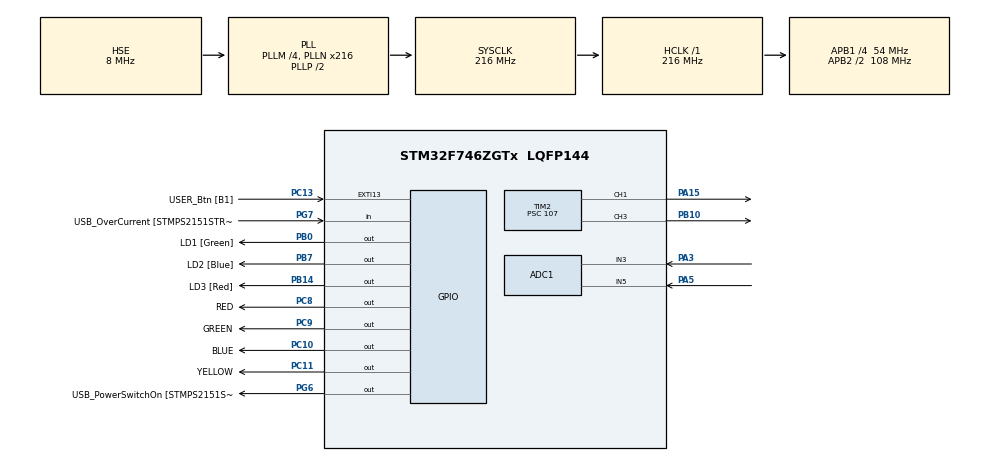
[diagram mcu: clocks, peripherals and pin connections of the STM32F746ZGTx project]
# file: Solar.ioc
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Mcu.Family=STM32F7
RCC.CortexFreq_Value=216000000
PG6.Signal=GPIO_Output
ADC1.ContinuousConvMode=ENABLE
PC10.Signal=GPIO_Output
PB14.GPIO_Label=LD3 [Red]
PG6.GPIO_Label=USB_PowerSwitchOn [STMPS2151STR_EN]
PA14.GPIO_Label=TCK
RCC.SYSCLKSourceVirtual=RCC_SYSCLKSOURCE_PLLCLK
PB0.GPIO_Label=LD1 [Green]
PC14/OSC32_IN.Mode=LSE-External-Oscillator
PC13.GPIO_Label=USER_Btn [B1]
PB13.GPIO_Label=RMII_TXD1 [LAN8742A-CZ-TR_TXD1]
PB13.Signal=ETH_TXD1
PG13.Signal=ETH_TXD0
PG11.Signal=ETH_TX_EN
RCC.SYSCLKSource=RCC_SYSCLKSOURCE_PLLCLK
ProjectManager.StackSize=0x400
PA12.Signal=USB_OTG_FS_DP
PH0/OSC_IN.Mode=HSE-External-Clock-Source
RCC.HCLKFreq_Value=216000000
SH.ADCx_IN3.0=ADC1_IN3,IN3
RCC.APB2TimFreq_Value=216000000
Dma.ADC1.0.Direction=DMA_PERIPH_TO_MEMORY
ADC1.Channel-2\#ChannelRegularConversion=ADC_CHANNEL_5
ADC1.InjNumberOfConversion=0
PH1/OSC_OUT.Signal=RCC_OSC_OUT
PD8.Signal=USART3_TX
NVIC.DMA2_Stream0_IRQn=true\:0\:0\:false\:false\:true\:false\:true
Dma.ADC1.0.MemDataAlignment=DMA_MDATAALIGN_HALFWORD
RCC.AHBFreq_Value=216000000
RCC.HSE_VALUE=8000000
RCC.PLLMUL=RCC_PLL_MUL9
ADC1.Rank-2\#ChannelRegularConversion=2
PC4.GPIO_Label=RMII_RXD0 [LAN8742A-CZ-TR_RXD0]
PA14.Mode=Serial_Wire
Dma.ADC1.0.PeriphInc=DMA_PINC_DISABLE
PC11.GPIO_Label=YELLOW
NVIC.TIM2_IRQn=true\:0\:0\:false\:false\:true\:true\:true
PA10.GPIO_Label=USB_ID
PB7.Signal=GPIO_Output
PA8.Signal=USB_OTG_FS_SOF
TIM2.Channel-PWM\ Generation1\ CH1=TIM_CHANNEL_1
PH1/OSC_OUT.Mode=HSE-External-Clock-Source
PB7.GPIO_Label=LD2 [Blue]
Mcu.Package=LQFP144
TIM2.Prescaler=107
PC14/OSC32_IN.Signal=RCC_OSC32_IN
PA2.GPIO_Label=RMII_MDIO [LAN8742A-CZ-TR_MDIO]
PA10.Signal=USB_OTG_FS_ID
PA15.Signal=S_TIM2_CH1_ETR
RCC.APB2CLKDivider=RCC_HCLK_DIV2
RCC.APB1TimFreq_Value=108000000
Dma.ADC1.0.FIFOMode=DMA_FIFOMODE_DISABLE
PG11.GPIO_Label=RMII_TX_EN [LAN8742A-CZ-TR_TXEN]
PC5.Signal=ETH_RXD1
Dma.Request0=ADC1
PA3.Signal=ADCx_IN3
PB3.GPIO_Label=SW0
RCC.PLLSourceVirtual=RCC_PLLSOURCE_HSE
Dma.ADC1.0.Instance=DMA2_Stream0
PG7.Signal=GPIO_Input
PD9.GPIO_Label=STLK_TX [STM32F103CBT6_PA2]
PC10.GPIO_Label=BLUE
PC9.GPIO_Label=GREEN
PA9.GPIO_Label=USB_VBUS
PC13.Signal=GPXTI13
PC11.Signal=GPIO_Output
PC8.Signal=GPIO_Output
PC4.Signal=ETH_RXD0
PA11.GPIO_Label=USB_DM
PD9.Signal=USART3_RX
RCC.APB1CLKDivider=RCC_HCLK_DIV4
PG13.GPIO_Label=RMII_TXD0 [LAN8742A-CZ-TR_TXD0]
PA12.GPIO_Label=USB_DP
ADC1.SamplingTime-2\#ChannelRegularConversion=ADC_SAMPLETIME_480CYCLES
TIM2.Pulse-PWM\ Generation1\ CH1=0
PD8.GPIO_Label=STLK_RX [STM32F103CBT6_PA3]
PC8.GPIO_Label=RED
PA13.Signal=SYS_JTMS-SWDIO
Dma.ADC1.0.PeriphDataAlignment=DMA_PDATAALIGN_HALFWORD
PA8.GPIO_Label=USB_SOF [TP1]
ProjectManager.TargetToolchain=STM32CubeIDE
Dma.ADC1.0.Mode=DMA_CIRCULAR
Dma.ADC1.0.Priority=DMA_PRIORITY_LOW
PA9.Signal=USB_OTG_FS_VBUS
ADC1.Channel-1\#ChannelRegularConversion=ADC_CHANNEL_3
RCC.USBFreq_Value=30857142.85714286
PA1.Signal=ETH_REF_CLK
PB10.Signal=S_TIM2_CH3
PB14.Signal=GPIO_Output
PA5.Signal=ADCx_IN5
board=NUCLEO-F746ZG
RCC.VCOOutputFreq_Value=432000000
PH0/OSC_IN.Signal=RCC_OSC_IN
RCC.APB2Freq_Value=108000000
RCC.PRESCALERUSB=RCC_USBCLKSOURCE_PLL_DIV1_5
VP_TIM2_VS_ClockSourceINT.Mode=Internal
SH.S_TIM2_CH3.0=TIM2_CH3,PWM Generation3 CH3
PG7.GPIO_Label=USB_OverCurrent [STMPS2151STR_FAULT]
PA1.GPIO_Label=RMII_REF_CLK [LAN8742A-CZ-TR_REFCLK0]
PC1.GPIO_Label=RMII_MDC [LAN8742A-CZ-TR_MDC]
TIM2.Channel-PWM\ Generation3\ CH3=TIM_CHANNEL_3
ADC1.DMAContinuousRequests=ENABLE
TIM2.Period=19999
ADC1.NbrOfConversion=2
PA13.Mode=Serial_Wire
Mcu.Name=STM32F746ZGTx
PA2.Signal=ETH_MDIO
PA13.GPIO_Label=TMS
RCC.48MHZClocksFreq_Value=24000000
PB3.Signal=SYS_JTDO-SWO
ADC1.SamplingTime-1\#ChannelRegularConversion=ADC_SAMPLETIME_480CYCLES
RCC.SYSCLKFreq_VALUE=216000000
PA7.GPIO_Label=RMII_CRS_DV [LAN8742A-CZ-TR_CRS_DV]
ADC1.master=1
PC5.GPIO_Label=RMII_RXD1 [LAN8742A-CZ-TR_RXD1]
PC15/OSC32_OUT.Mode=LSE-External-Oscillator
ADC1.Rank-1\#ChannelRegularConversion=1
PA11.Signal=USB_OTG_FS_DM
SH.S_TIM2_CH1_ETR.0=TIM2_CH1,PWM Generation1 CH1
PA14.Signal=SYS_JTCK-SWCLK
Dma.ADC1.0.MemInc=DMA_MINC_ENABLE
ProjectManager.HeapSize=0x200
RCC.HSI_VALUE=16000000
PH0/OSC_IN.GPIO_Label=MCO [STM32F103CBT6_PA8]
SH.ADCx_IN5.0=ADC1_IN5,IN5
RCC.PLLQ=14
NVIC.PriorityGroup=NVIC_PRIORITYGROUP_4
ADC1.NbrOfConversionFlag=1
RCC.PLLM=4
RCC.PLLN=216
TIM2.AutoReloadPreload=TIM_AUTORELOAD_PRELOAD_DISABLE
PC15/OSC32_OUT.Signal=RCC_OSC32_OUT
PC9.Signal=GPIO_Output
RCC.APB1Freq_Value=54000000
PB0.Signal=GPIO_Output
ADC1.ClockPrescaler=ADC_CLOCK_SYNC_PCLK_DIV4
PC1.Signal=ETH_MDC
PA7.Signal=ETH_CRS_DV

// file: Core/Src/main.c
/* USER CODE BEGIN Header */
/**
  ******************************************************************************
  * @file           : main.c
  * @brief          : Main program body
  ******************************************************************************
  * @attention
  *
  * <h2><center>&copy; Copyright (c) 2021 STMicroelectronics.
  * All rights reserved.</center></h2>
  *
  * This software component is licensed by ST under BSD 3-Clause license,
  * the "License"; You may not use this file except in compliance with the
  * License. You may obtain a copy of the License at:
  *                        opensource.org/licenses/BSD-3-Clause
  *
  ******************************************************************************
  */
/* USER CODE END Header */
#include "main.h"
#include "adc.h"
#include "dma.h"
#include "tim.h"
#include "gpio.h"

void SystemClock_Config(void);
/* USER CODE BEGIN PFP */

void SET_ANGLE(uint8_t angle, uint8_t tim_nr)
{
	unsigned int temp = 0;
	temp += angle*5.555555;
	temp += 1000;

	if (tim_nr == 1)
		__HAL_TIM_SetCompare(&htim2, TIM_CHANNEL_1, temp-1);
	if (tim_nr == 3)
		__HAL_TIM_SetCompare(&htim2, TIM_CHANNEL_3, temp-1);

}

/* USER CODE END PFP */

/* USER CODE BEGIN 0 */

uint16_t VR[2] = {0,0};
uint8_t x = 90;
uint8_t y = 90;

/* USER CODE END 0 */

int main(void)
{

  /* MCU Configuration--------------------------------------------------------*/

  /* Reset of all peripherals, Initializes the Flash interface and the Systick. */
  HAL_Init();

  /* Configure the system clock */
  SystemClock_Config();

  /* Initialize all configured peripherals */
  MX_GPIO_Init();
  MX_DMA_Init();
  MX_TIM2_Init();
  MX_ADC1_Init();
  /* USER CODE BEGIN 2 */

  HAL_TIM_Base_Start_IT(&htim2);
  HAL_TIM_PWM_Start(&htim2, TIM_CHANNEL_1);
  HAL_TIM_PWM_Start(&htim2, TIM_CHANNEL_3);

  HAL_ADC_Start_DMA(&hadc1, (uint32_t*)VR, 2);

  /* USER CODE END 2 */

  /* Infinite loop */
  /* USER CODE BEGIN WHILE */
  while (1)
  {

	  SET_ANGLE(x,1);
	  SET_ANGLE(y,3);

	  if (y>=180)
	  	  {
		  	  y = 180;
	  	  }

	  if(y < 1)
	  	  {
		  	  y = 1;
	  	  }

	  if(x>=180)
		  {
			  x = 180;
		  }

	  if(x<1)
	  	  {
		   	  x = 1;
	  	  }

	  if (VR[0] >= 4000) //DOWN
	  	  {
		  	  y += 1;
		  	  HAL_Delay(10);
		  	 // HAL_GPIO_WritePin(GREEN_GPIO_Port, GREEN_Pin, GPIO_PIN_RESET);
		  	 // HAL_GPIO_WritePin(RED_GPIO_Port, RED_Pin, GPIO_PIN_SET);
	  	  }
	  if (VR[0] <= 800) //UP
	  	  {
		  	  y -= 1;
		   	  HAL_Delay(10);
		  	 // HAL_GPIO_WritePin(GREEN_GPIO_Port, GREEN_Pin, GPIO_PIN_SET);
		  	 // HAL_GPIO_WritePin(RED_GPIO_Port, RED_Pin, GPIO_PIN_RESET);
	  	  }
	  if (VR[1] >= 4000) //RIGHT
		  {
		  	  x += 1;
		  	  HAL_Delay(10);
		  	 // HAL_GPIO_WritePin(BLUE_GPIO_Port, BLUE_Pin, GPIO_PIN_SET);
		 	 // HAL_GPIO_WritePin(YELLOW_GPIO_Port, YELLOW_Pin, GPIO_PIN_RESET);
		  }
	  if (VR[1] <= 800) //LEFT
		  {
		  	  x -= 1;
		   	  HAL_Delay(10);
		  	 // HAL_GPIO_WritePin(BLUE_GPIO_Port, BLUE_Pin, GPIO_PIN_RESET);
		  	 // HAL_GPIO_WritePin(YELLOW_GPIO_Port, YELLOW_Pin, GPIO_PIN_SET);
		  }

    /* USER CODE END WHILE */

  }
}

void SystemClock_Config(void)
{
  RCC_OscInitTypeDef RCC_OscInitStruct = {0};
  RCC_ClkInitTypeDef RCC_ClkInitStruct = {0};

  /** Configure LSE Drive Capability
  */
  HAL_PWR_EnableBkUpAccess();
  /** Configure the main internal regulator output voltage
  */
  __HAL_RCC_PWR_CLK_ENABLE();
  __HAL_PWR_VOLTAGESCALING_CONFIG(PWR_REGULATOR_VOLTAGE_SCALE1);
  /** Initializes the RCC Oscillators according to the specified parameters
  * in the RCC_OscInitTypeDef structure.
  */
  RCC_OscInitStruct.OscillatorType = RCC_OSCILLATORTYPE_HSE;
  RCC_OscInitStruct.HSEState = RCC_HSE_BYPASS;
  RCC_OscInitStruct.PLL.PLLState = RCC_PLL_ON;
  RCC_OscInitStruct.PLL.PLLSource = RCC_PLLSOURCE_HSE;
  RCC_OscInitStruct.PLL.PLLM = 4;
  RCC_OscInitStruct.PLL.PLLN = 216;
  RCC_OscInitStruct.PLL.PLLP = RCC_PLLP_DIV2;
  RCC_OscInitStruct.PLL.PLLQ = 14;
  if (HAL_RCC_OscConfig(&RCC_OscInitStruct) != HAL_OK)
  {
    Error_Handler();
  }
  /** Activate the Over-Drive mode
  */
  if (HAL_PWREx_EnableOverDrive() != HAL_OK)
  {
    Error_Handler();
  }
  /** Initializes the CPU, AHB and APB buses clocks
  */
  RCC_ClkInitStruct.ClockType = RCC_CLOCKTYPE_HCLK|RCC_CLOCKTYPE_SYSCLK
                              |RCC_CLOCKTYPE_PCLK1|RCC_CLOCKTYPE_PCLK2;
  RCC_ClkInitStruct.SYSCLKSource = RCC_SYSCLKSOURCE_PLLCLK;
  RCC_ClkInitStruct.AHBCLKDivider = RCC_SYSCLK_DIV1;
  RCC_ClkInitStruct.APB1CLKDivider = RCC_HCLK_DIV4;
  RCC_ClkInitStruct.APB2CLKDivider = RCC_HCLK_DIV2;

  if (HAL_RCC_ClockConfig(&RCC_ClkInitStruct, FLASH_LATENCY_7) != HAL_OK)
  {
    Error_Handler();
  }
}

void Error_Handler(void)
{
  __disable_irq();
  while (1)
  {
  }
}

/************************ (C) COPYRIGHT STMicroelectronics *****END OF FILE****/
